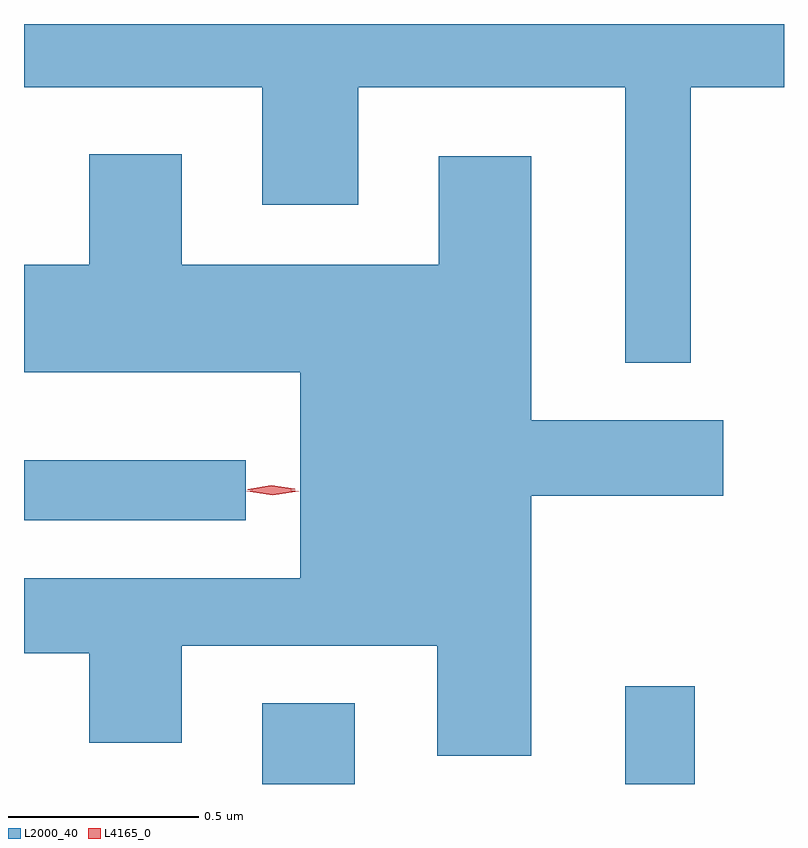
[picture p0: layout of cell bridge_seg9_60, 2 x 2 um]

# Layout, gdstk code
import gdstk
lib = gdstk.Library(unit=1e-6, precision=1e-09)
def R(c, l, rs):  # rectangles x0, y0, x1, y1
    for r in rs: c.add(gdstk.rectangle(r[:2], r[2:], *l))
def P(c, l, *ps):  # polygons
    for p in ps: c.add(gdstk.Polygon(p, *l))
L2000_40 = (2000, 40)
L4165_0 = (4165, 0)

bridge_seg9_60 = lib.new_cell('bridge_seg9_60')
R(bridge_seg9_60, L2000_40, [(1506.351,1983.322,1506.594,1983.534), (1507.306,1983.322,1507.489,1983.579), (1505.724,1984.016,1506.308,1984.174)])
P(bridge_seg9_60, L2000_40, [(1507.479,1985.156),(1507.724,1985.156),(1507.724,1985.322),(1505.724,1985.322),(1505.724,1985.156),(1506.351,1985.156),(1506.351,1984.846),(1506.604,1984.846),(1506.604,1985.156),(1507.306,1985.156),(1507.306,1984.431),(1507.479,1984.431)],
  [(1507.059,1984.081),(1507.564,1984.081),(1507.564,1984.279),(1507.059,1984.279),(1507.059,1984.974),(1506.816,1984.974),(1506.816,1984.689),(1506.139,1984.689),(1506.139,1984.979),(1505.896,1984.979),(1505.896,1984.689),(1505.724,1984.689),(1505.724,1984.406),(1506.451,1984.406),(1506.451,1983.864),(1505.724,1983.864),(1505.724,1983.666),(1505.896,1983.666),(1505.896,1983.431),(1506.139,1983.431),(1506.139,1983.686),(1506.811,1983.686),(1506.811,1983.396),(1507.059,1983.396)])
P(bridge_seg9_60, L4165_0, [(1506.378,1984.082),(1506.31,1984.092),(1506.309,1984.092),(1506.31,1984.093),(1506.378,1984.102),(1506.447,1984.093),(1506.447,1984.092),(1506.447,1984.092)],
  [(1506.376,1984.088),(1506.313,1984.097),(1506.313,1984.098),(1506.313,1984.098),(1506.375,1984.108),(1506.437,1984.099),(1506.438,1984.098),(1506.437,1984.098)])

lib.write_gds('bridge_seg9_60.gds')
